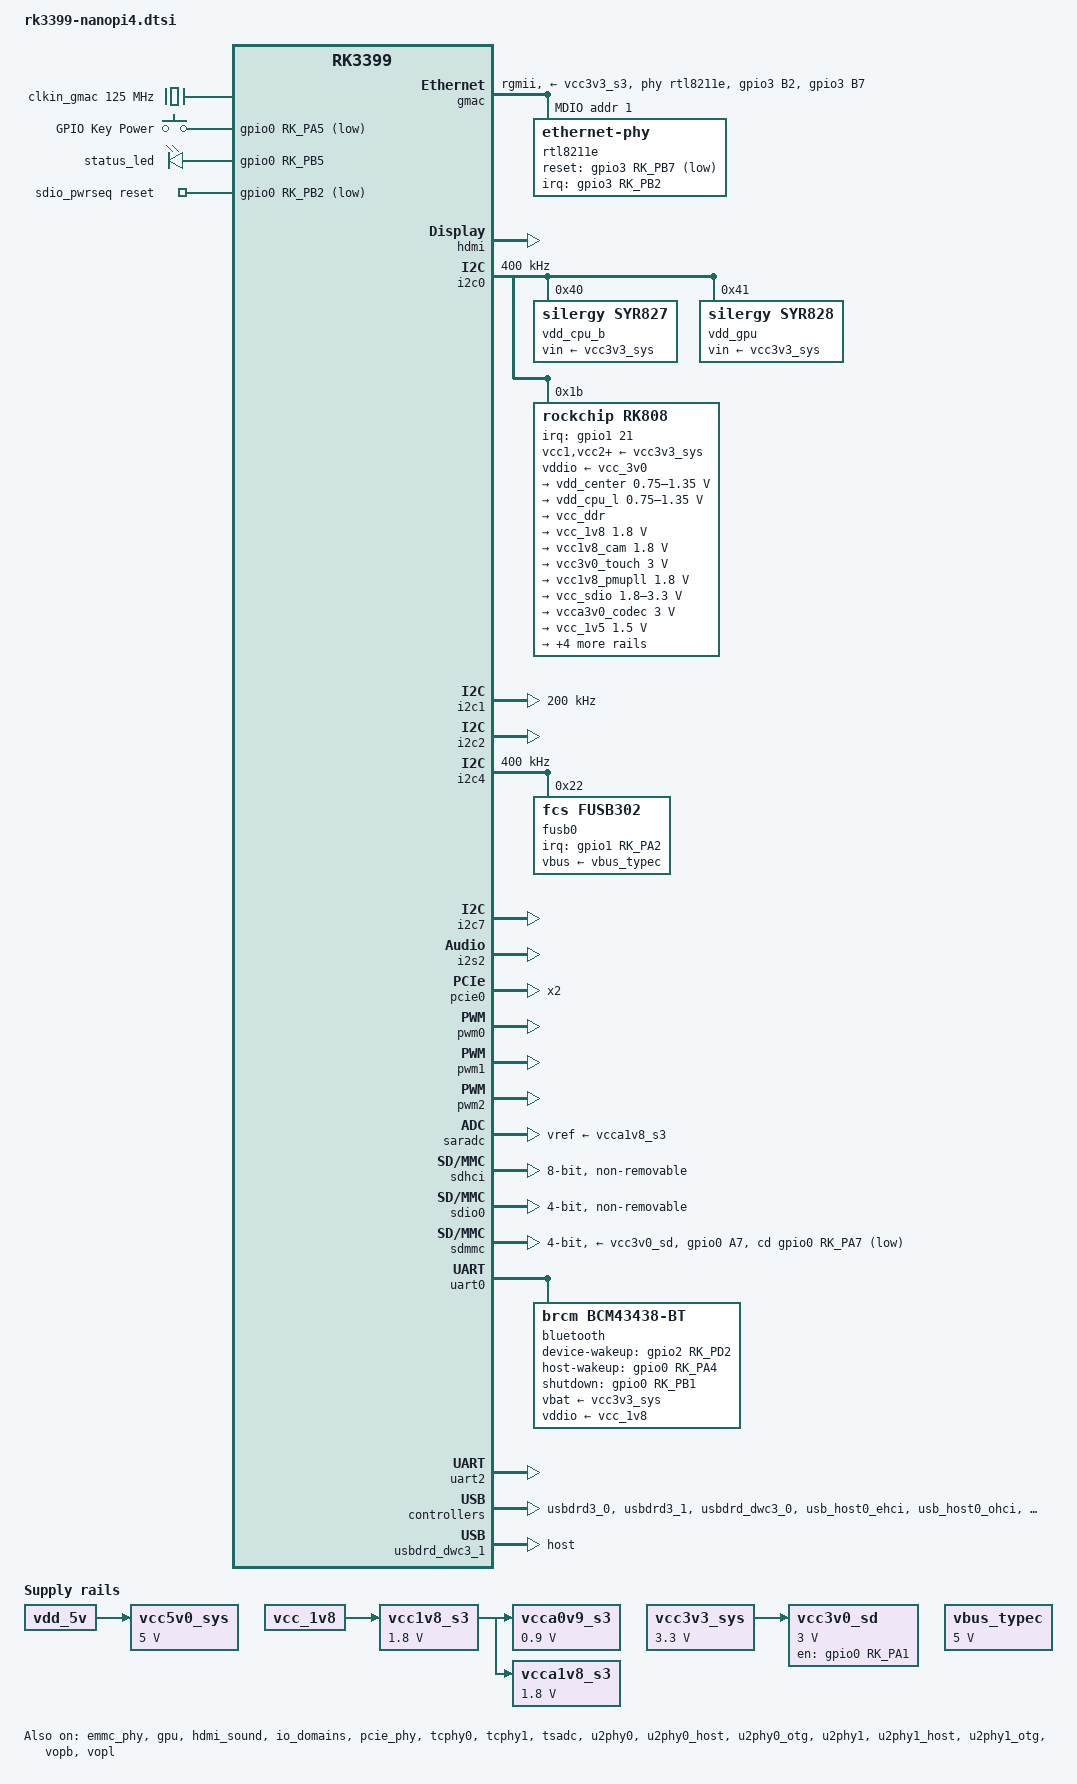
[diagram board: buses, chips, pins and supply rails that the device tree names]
// SPDX-License-Identifier: (GPL-2.0+ OR MIT)
/*
 * RK3399-based FriendlyElec boards device tree source
 *
 * Copyright (c) 2016 Fuzhou Rockchip Electronics Co., Ltd
 *
 * Copyright (c) 2018 FriendlyElec Computer Tech. Co., Ltd.
 * (http://www.friendlyarm.com)
 *
 * Copyright (c) 2018 Collabora Ltd.
 * Copyright (c) 2019 Arm Ltd.
 */

/dts-v1/;
#include <dt-bindings/input/linux-event-codes.h>
#include "rk3399.dtsi"

/ {
	aliases {
		ethernet0 = &gmac;
		mmc0 = &sdio0;
		mmc1 = &sdmmc;
		mmc2 = &sdhci;
	};

	chosen {
		stdout-path = "serial2:1500000n8";
	};

	clkin_gmac: external-gmac-clock {
		compatible = "fixed-clock";
		clock-frequency = <125000000>;
		clock-output-names = "clkin_gmac";
		#clock-cells = <0>;
	};

	vcc3v3_sys: vcc3v3-sys {
		compatible = "regulator-fixed";
		regulator-always-on;
		regulator-boot-on;
		regulator-min-microvolt = <3300000>;
		regulator-max-microvolt = <3300000>;
		regulator-name = "vcc3v3_sys";
	};

	vcc5v0_sys: vcc5v0-sys {
		compatible = "regulator-fixed";
		regulator-always-on;
		regulator-boot-on;
		regulator-min-microvolt = <5000000>;
		regulator-max-microvolt = <5000000>;
		regulator-name = "vcc5v0_sys";
		vin-supply = <&vdd_5v>;
	};

	/* switched by pmic_sleep */
	vcc1v8_s3: vcc1v8-s3 {
		compatible = "regulator-fixed";
		regulator-always-on;
		regulator-boot-on;
		regulator-min-microvolt = <1800000>;
		regulator-max-microvolt = <1800000>;
		regulator-name = "vcc1v8_s3";
		vin-supply = <&vcc_1v8>;
	};

	vcc3v0_sd: vcc3v0-sd {
		compatible = "regulator-fixed";
		enable-active-high;
		gpio = <&gpio0 RK_PA1 GPIO_ACTIVE_HIGH>;
		pinctrl-names = "default";
		pinctrl-0 = <&sdmmc0_pwr_h>;
		regulator-always-on;
		regulator-min-microvolt = <3000000>;
		regulator-max-microvolt = <3000000>;
		regulator-name = "vcc3v0_sd";
		vin-supply = <&vcc3v3_sys>;
	};

	/*
	 * Really, this is supplied by vcc_1v8, and vcc1v8_s3 only
	 * drives the enable pin, but we can't quite model that.
	 */
	vcca0v9_s3: vcca0v9-s3 {
		compatible = "regulator-fixed";
		regulator-min-microvolt = <900000>;
		regulator-max-microvolt = <900000>;
		regulator-name = "vcca0v9_s3";
		vin-supply = <&vcc1v8_s3>;
	};

	/* As above, actually supplied by vcc3v3_sys */
	vcca1v8_s3: vcca1v8-s3 {
		compatible = "regulator-fixed";
		regulator-min-microvolt = <1800000>;
		regulator-max-microvolt = <1800000>;
		regulator-name = "vcca1v8_s3";
		vin-supply = <&vcc1v8_s3>;
	};

	vbus_typec: vbus-typec {
		compatible = "regulator-fixed";
		regulator-min-microvolt = <5000000>;
		regulator-max-microvolt = <5000000>;
		regulator-name = "vbus_typec";
	};

	gpio-keys {
		compatible = "gpio-keys";
		autorepeat;
		pinctrl-names = "default";
		pinctrl-0 = <&power_key>;

		key-power {
			debounce-interval = <100>;
			gpios = <&gpio0 RK_PA5 GPIO_ACTIVE_LOW>;
			label = "GPIO Key Power";
			linux,code = <KEY_POWER>;
			wakeup-source;
		};
	};

	leds: gpio-leds {
		compatible = "gpio-leds";
		pinctrl-names = "default";
		pinctrl-0 = <&status_led_pin>;

		status_led: led-0 {
			gpios = <&gpio0 RK_PB5 GPIO_ACTIVE_HIGH>;
			label = "status_led";
			linux,default-trigger = "heartbeat";
		};
	};

	sdio_pwrseq: sdio-pwrseq {
		compatible = "mmc-pwrseq-simple";
		clocks = <&rk808 1>;
		clock-names = "ext_clock";
		pinctrl-names = "default";
		pinctrl-0 = <&wifi_reg_on_h>;
		reset-gpios = <&gpio0 RK_PB2 GPIO_ACTIVE_LOW>;
	};
};

&cpu_b0 {
	cpu-supply = <&vdd_cpu_b>;
};

&cpu_b1 {
	cpu-supply = <&vdd_cpu_b>;
};

&cpu_l0 {
	cpu-supply = <&vdd_cpu_l>;
};

&cpu_l1 {
	cpu-supply = <&vdd_cpu_l>;
};

&cpu_l2 {
	cpu-supply = <&vdd_cpu_l>;
};

&cpu_l3 {
	cpu-supply = <&vdd_cpu_l>;
};

&emmc_phy {
	rockchip,enable-strobe-pulldown;
	status = "okay";
};

&gmac {
	assigned-clock-parents = <&clkin_gmac>;
	assigned-clocks = <&cru SCLK_RMII_SRC>;
	clock_in_out = "input";
	pinctrl-names = "default";
	pinctrl-0 = <&rgmii_pins>, <&phy_intb>, <&phy_rstb>;
	phy-handle = <&rtl8211e>;
	phy-mode = "rgmii";
	phy-supply = <&vcc3v3_s3>;
	tx_delay = <0x28>;
	rx_delay = <0x11>;
	status = "okay";

	mdio {
		compatible = "snps,dwmac-mdio";
		#address-cells = <1>;
		#size-cells = <0>;

		rtl8211e: ethernet-phy@1 {
			reg = <1>;
			interrupt-parent = <&gpio3>;
			interrupts = <RK_PB2 IRQ_TYPE_LEVEL_LOW>;
			reset-assert-us = <10000>;
			reset-deassert-us = <30000>;
			reset-gpios = <&gpio3 RK_PB7 GPIO_ACTIVE_LOW>;
		};
	};
};

&gpu {
	mali-supply = <&vdd_gpu>;
	status = "okay";
};

&hdmi {
	ddc-i2c-bus = <&i2c7>;
	pinctrl-names = "default";
	pinctrl-0 = <&hdmi_cec>;
	status = "okay";
};

&hdmi_sound {
	status = "okay";
};

&i2c0 {
	clock-frequency = <400000>;
	i2c-scl-rising-time-ns = <160>;
	i2c-scl-falling-time-ns = <30>;
	status = "okay";

	vdd_cpu_b: regulator@40 {
		compatible = "silergy,syr827";
		reg = <0x40>;
		fcs,suspend-voltage-selector = <1>;
		pinctrl-names = "default";
		pinctrl-0 = <&cpu_b_sleep>;
		regulator-always-on;
		regulator-boot-on;
		regulator-min-microvolt = <712500>;
		regulator-max-microvolt = <1500000>;
		regulator-name = "vdd_cpu_b";
		regulator-ramp-delay = <1000>;
		vin-supply = <&vcc3v3_sys>;

		regulator-state-mem {
			regulator-off-in-suspend;
		};
	};

	vdd_gpu: regulator@41 {
		compatible = "silergy,syr828";
		reg = <0x41>;
		fcs,suspend-voltage-selector = <1>;
		pinctrl-names = "default";
		pinctrl-0 = <&gpu_sleep>;
		regulator-always-on;
		regulator-boot-on;
		regulator-min-microvolt = <712500>;
		regulator-max-microvolt = <1500000>;
		regulator-name = "vdd_gpu";
		regulator-ramp-delay = <1000>;
		vin-supply = <&vcc3v3_sys>;

		regulator-state-mem {
			regulator-off-in-suspend;
		};
	};

	rk808: pmic@1b {
		compatible = "rockchip,rk808";
		reg = <0x1b>;
		clock-output-names = "xin32k", "rtc_clko_wifi";
		#clock-cells = <1>;
		interrupt-parent = <&gpio1>;
		interrupts = <21 IRQ_TYPE_LEVEL_LOW>;
		pinctrl-names = "default";
		pinctrl-0 = <&pmic_int_l>, <&ap_pwroff>, <&clk_32k>;
		rockchip,system-power-controller;
		wakeup-source;

		vcc1-supply = <&vcc3v3_sys>;
		vcc2-supply = <&vcc3v3_sys>;
		vcc3-supply = <&vcc3v3_sys>;
		vcc4-supply = <&vcc3v3_sys>;
		vcc6-supply = <&vcc3v3_sys>;
		vcc7-supply = <&vcc3v3_sys>;
		vcc8-supply = <&vcc3v3_sys>;
		vcc9-supply = <&vcc3v3_sys>;
		vcc10-supply = <&vcc3v3_sys>;
		vcc11-supply = <&vcc3v3_sys>;
		vcc12-supply = <&vcc3v3_sys>;
		vddio-supply = <&vcc_3v0>;

		regulators {
			vdd_center: DCDC_REG1 {
				regulator-always-on;
				regulator-boot-on;
				regulator-min-microvolt = <750000>;
				regulator-max-microvolt = <1350000>;
				regulator-name = "vdd_center";
				regulator-ramp-delay = <6001>;

				regulator-state-mem {
					regulator-off-in-suspend;
				};
			};

			vdd_cpu_l: DCDC_REG2 {
				regulator-always-on;
				regulator-boot-on;
				regulator-min-microvolt = <750000>;
				regulator-max-microvolt = <1350000>;
				regulator-name = "vdd_cpu_l";
				regulator-ramp-delay = <6001>;

				regulator-state-mem {
					regulator-off-in-suspend;
				};
			};

			vcc_ddr: DCDC_REG3 {
				regulator-always-on;
				regulator-boot-on;
				regulator-name = "vcc_ddr";

				regulator-state-mem {
					regulator-on-in-suspend;
				};
			};

			vcc_1v8: DCDC_REG4 {
				regulator-always-on;
				regulator-boot-on;
				regulator-min-microvolt = <1800000>;
				regulator-max-microvolt = <1800000>;
				regulator-name = "vcc_1v8";

				regulator-state-mem {
					regulator-on-in-suspend;
					regulator-suspend-microvolt = <1800000>;
				};
			};

			vcc1v8_cam: LDO_REG1 {
				regulator-always-on;
				regulator-boot-on;
				regulator-min-microvolt = <1800000>;
				regulator-max-microvolt = <1800000>;
				regulator-name = "vcc1v8_cam";

				regulator-state-mem {
					regulator-off-in-suspend;
				};
			};

			vcc3v0_touch: LDO_REG2 {
				regulator-always-on;
				regulator-boot-on;
				regulator-min-microvolt = <3000000>;
				regulator-max-microvolt = <3000000>;
				regulator-name = "vcc3v0_touch";

				regulator-state-mem {
					regulator-off-in-suspend;
				};
			};

			vcc1v8_pmupll: LDO_REG3 {
				regulator-always-on;
				regulator-boot-on;
				regulator-min-microvolt = <1800000>;
				regulator-max-microvolt = <1800000>;
				regulator-name = "vcc1v8_pmupll";

				regulator-state-mem {
					regulator-on-in-suspend;
					regulator-suspend-microvolt = <1800000>;
				};
			};

			vcc_sdio: LDO_REG4 {
				regulator-always-on;
				regulator-boot-on;
				regulator-min-microvolt = <1800000>;
				regulator-max-microvolt = <3300000>;
				regulator-name = "vcc_sdio";

				regulator-state-mem {
					regulator-on-in-suspend;
					regulator-suspend-microvolt = <3000000>;
				};
			};

			vcca3v0_codec: LDO_REG5 {
				regulator-always-on;
				regulator-boot-on;
				regulator-min-microvolt = <3000000>;
				regulator-max-microvolt = <3000000>;
				regulator-name = "vcca3v0_codec";

				regulator-state-mem {
					regulator-off-in-suspend;
				};
			};

			vcc_1v5: LDO_REG6 {
				regulator-always-on;
				regulator-boot-on;
				regulator-min-microvolt = <1500000>;
				regulator-max-microvolt = <1500000>;
				regulator-name = "vcc_1v5";

				regulator-state-mem {
					regulator-on-in-suspend;
					regulator-suspend-microvolt = <1500000>;
				};
			};

			vcca1v8_codec: LDO_REG7 {
				regulator-always-on;
				regulator-boot-on;
				regulator-min-microvolt = <1800000>;
				regulator-max-microvolt = <1800000>;
				regulator-name = "vcca1v8_codec";

				regulator-state-mem {
					regulator-off-in-suspend;
				};
			};

			vcc_3v0: LDO_REG8 {
				regulator-always-on;
				regulator-boot-on;
				regulator-min-microvolt = <3000000>;
				regulator-max-microvolt = <3000000>;
				regulator-name = "vcc_3v0";

				regulator-state-mem {
					regulator-on-in-suspend;
					regulator-suspend-microvolt = <3000000>;
				};
			};

			vcc3v3_s3: SWITCH_REG1 {
				regulator-always-on;
				regulator-boot-on;
				regulator-name = "vcc3v3_s3";

				regulator-state-mem {
					regulator-off-in-suspend;
				};
			};

			vcc3v3_s0: SWITCH_REG2 {
				regulator-always-on;
				regulator-boot-on;
				regulator-name = "vcc3v3_s0";

				regulator-state-mem {
					regulator-off-in-suspend;
				};
			};
		};
	};
};

&i2c1 {
	clock-frequency = <200000>;
	i2c-scl-rising-time-ns = <150>;
	i2c-scl-falling-time-ns = <30>;
	status = "okay";
};

&i2c2 {
	status = "okay";
};

&i2c4 {
	clock-frequency = <400000>;
	i2c-scl-rising-time-ns = <160>;
	i2c-scl-falling-time-ns = <30>;
	status = "okay";

	fusb0: typec-portc@22 {
		compatible = "fcs,fusb302";
		reg = <0x22>;
		interrupt-parent = <&gpio1>;
		interrupts = <RK_PA2 IRQ_TYPE_LEVEL_LOW>;
		pinctrl-names = "default";
		pinctrl-0 = <&fusb0_int>;
		vbus-supply = <&vbus_typec>;
	};
};

&i2c7 {
	status = "okay";
};

&i2s2 {
	status = "okay";
};

&io_domains {
	bt656-supply = <&vcc_1v8>;
	audio-supply = <&vcca1v8_codec>;
	sdmmc-supply = <&vcc_sdio>;
	gpio1830-supply = <&vcc_3v0>;
	status = "okay";
};

&pcie_phy {
	assigned-clock-parents = <&cru SCLK_PCIEPHY_REF100M>;
	assigned-clock-rates = <100000000>;
	assigned-clocks = <&cru SCLK_PCIEPHY_REF>;
	status = "okay";
};

&pcie0 {
	num-lanes = <2>;
	vpcie0v9-supply = <&vcca0v9_s3>;
	vpcie1v8-supply = <&vcca1v8_s3>;
	status = "okay";
};

&pinctrl {
	fusb30x {
		fusb0_int: fusb0-int {
			rockchip,pins = <1 RK_PA2 RK_FUNC_GPIO &pcfg_pull_up>;
		};
	};

	gpio-leds {
		status_led_pin: status-led-pin {
			rockchip,pins = <0 RK_PB5 RK_FUNC_GPIO &pcfg_pull_none>;
		};
	};

	gmac {
		phy_intb: phy-intb {
			rockchip,pins = <3 RK_PB2 RK_FUNC_GPIO &pcfg_pull_up>;
		};

		phy_rstb: phy-rstb {
			rockchip,pins = <3 RK_PB7 RK_FUNC_GPIO &pcfg_pull_none>;
		};
	};

	pmic {
		cpu_b_sleep: cpu-b-sleep {
			rockchip,pins = <1 RK_PC1 RK_FUNC_GPIO &pcfg_pull_down>;
		};

		gpu_sleep: gpu-sleep {
			rockchip,pins = <1 RK_PB6 RK_FUNC_GPIO &pcfg_pull_down>;
		};

		pmic_int_l: pmic-int-l {
			rockchip,pins = <1 RK_PC5 RK_FUNC_GPIO &pcfg_pull_up>;
		};
	};

	rockchip-key {
		power_key: power-key {
			rockchip,pins = <0 RK_PA5 RK_FUNC_GPIO &pcfg_pull_up>;
		};
	};

	sdio {
		bt_host_wake_l: bt-host-wake-l {
			rockchip,pins = <0 RK_PA4 RK_FUNC_GPIO &pcfg_pull_none>;
		};

		bt_reg_on_h: bt-reg-on-h {
			/* external pullup to VCC1V8_PMUPLL */
			rockchip,pins = <0 RK_PB1 RK_FUNC_GPIO &pcfg_pull_none>;
		};

		bt_wake_l: bt-wake-l {
			rockchip,pins = <2 RK_PD2 RK_FUNC_GPIO &pcfg_pull_none>;
		};

		wifi_reg_on_h: wifi-reg_on-h {
			rockchip,pins = <0 RK_PB2 RK_FUNC_GPIO &pcfg_pull_none>;
		};
	};

	sdmmc {
		sdmmc0_det_l: sdmmc0-det-l {
			rockchip,pins = <0 RK_PA7 RK_FUNC_GPIO &pcfg_pull_up>;
		};

		sdmmc0_pwr_h: sdmmc0-pwr-h {
			rockchip,pins = <0 RK_PA1 RK_FUNC_GPIO &pcfg_pull_none>;
		};
	};
};

&pmu_io_domains {
	pmu1830-supply = <&vcc_3v0>;
	status = "okay";
};

&pwm0 {
	status = "okay";
};

&pwm1 {
	status = "okay";
};

&pwm2 {
	pinctrl-names = "active";
	pinctrl-0 = <&pwm2_pin_pull_down>;
	status = "okay";
};

&saradc {
	vref-supply = <&vcca1v8_s3>;
	status = "okay";
};

&sdhci {
	bus-width = <8>;
	mmc-hs200-1_8v;
	non-removable;
	status = "okay";
};

&sdio0 {
	bus-width = <4>;
	cap-sd-highspeed;
	cap-sdio-irq;
	keep-power-in-suspend;
	mmc-pwrseq = <&sdio_pwrseq>;
	non-removable;
	pinctrl-names = "default";
	pinctrl-0 = <&sdio0_bus4 &sdio0_cmd &sdio0_clk>;
	sd-uhs-sdr104;
	status = "okay";
};

&sdmmc {
	bus-width = <4>;
	cap-sd-highspeed;
	cap-mmc-highspeed;
	cd-gpios = <&gpio0 RK_PA7 GPIO_ACTIVE_LOW>;
	disable-wp;
	pinctrl-names = "default";
	pinctrl-0 = <&sdmmc_bus4 &sdmmc_clk &sdmmc_cmd &sdmmc0_det_l>;
	sd-uhs-sdr104;
	vmmc-supply = <&vcc3v0_sd>;
	vqmmc-supply = <&vcc_sdio>;
	status = "okay";
};

&tcphy0 {
	status = "okay";
};

&tcphy1 {
	status = "okay";
};

&tsadc {
	/* tshut mode 0:CRU 1:GPIO */
	rockchip,hw-tshut-mode = <1>;
	/* tshut polarity 0:LOW 1:HIGH */
	rockchip,hw-tshut-polarity = <1>;
	status = "okay";
};

&u2phy0 {
	status = "okay";
};

&u2phy0_host {
	status = "okay";
};

&u2phy0_otg {
	status = "okay";
};

&u2phy1 {
	status = "okay";
};

&u2phy1_host {
	status = "okay";
};

&u2phy1_otg {
	status = "okay";
};

&uart0 {
	pinctrl-names = "default";
	pinctrl-0 = <&uart0_xfer &uart0_rts &uart0_cts>;
	status = "okay";

	bluetooth {
		compatible = "brcm,bcm43438-bt";
		clocks = <&rk808 1>;
		clock-names = "lpo";
		device-wakeup-gpios = <&gpio2 RK_PD2 GPIO_ACTIVE_HIGH>;
		host-wakeup-gpios = <&gpio0 RK_PA4 GPIO_ACTIVE_HIGH>;
		shutdown-gpios = <&gpio0 RK_PB1 GPIO_ACTIVE_HIGH>;
		max-speed = <4000000>;
		pinctrl-names = "default";
		pinctrl-0 = <&bt_reg_on_h &bt_host_wake_l &bt_wake_l>;
		vbat-supply = <&vcc3v3_sys>;
		vddio-supply = <&vcc_1v8>;
	};
};

&uart2 {
	status = "okay";
};

&usbdrd3_0 {
	status = "okay";
};

&usbdrd3_1 {
	status = "okay";
};

&usbdrd_dwc3_0 {
	status = "okay";
};

&usbdrd_dwc3_1 {
	dr_mode = "host";
	status = "okay";
};

&usb_host0_ehci {
	status = "okay";
};

&usb_host0_ohci {
	status = "okay";
};

&usb_host1_ehci {
	status = "okay";
};

&usb_host1_ohci {
	status = "okay";
};

&vopb {
	status = "okay";
};

&vopb_mmu {
	status = "okay";
};

&vopl {
	status = "okay";
};

&vopl_mmu {
	status = "okay";
};
